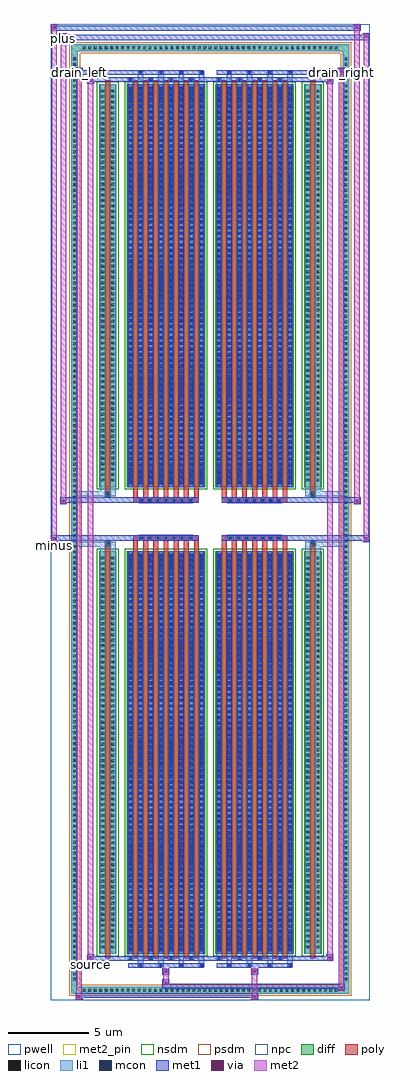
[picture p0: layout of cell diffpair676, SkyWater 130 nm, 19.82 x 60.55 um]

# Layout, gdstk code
import gdstk
lib = gdstk.Library(unit=1e-6, precision=5e-09)
def R(c, l, rs):  # rectangles x0, y0, x1, y1
    for r in rs: c.add(gdstk.rectangle(r[:2], r[2:], *l))
def A(c, l, x, y, w, h, nx, ny, dx, dy):  # array of equal rectangles
    R(c, l, [(x+i*dx, y+j*dy, x+i*dx+w, y+j*dy+h) for i in range(nx) for j in range(ny)])
def P(c, l, *ps):  # polygons
    for p in ps: c.add(gdstk.Polygon(p, *l))
pwell = (64, 44)
diff = (65, 20)
poly = (66, 20)
licon = (66, 44)
li1 = (67, 20)
mcon = (67, 44)
met1 = (68, 20)
via = (68, 44)
met2_pin = (69, 16)
met2 = (69, 20)
nsdm = (93, 44)
psdm = (94, 20)
npc = (95, 20)

diffpair676 = lib.new_cell('diffpair676')
R(diffpair676, pwell, [(-9.89,-29.84,9.89,30.71), (-7.21,-28.03,-0.01,-0.805), (0.01,-28.03,7.21,-0.805), (-7.21,0.805,-0.01,28.03), (0.01,0.805,7.21,28.03)])
A(diffpair676, diff, -8.025, -29.44, 0.41, 0.41, 47, 2, 0.34, 58.47)
A(diffpair676, diff, -8.62, -28.765, 0.41, 0.41, 1, 169, 0, 0.34)
A(diffpair676, diff, 8.21, -28.765, 0.41, 0.41, 1, 169, 0, 0.34)
R(diffpair676, diff, [(-8.025,-29.44,8.025,-29.03), (-8.62,-28.765,-8.21,28.765), (8.21,-28.765,8.62,28.765), (-6.9,-26.985,-5.82,-1.985), (-5.18,-26.985,-0.32,-1.985), (0.32,-26.985,5.18,-1.985), (5.82,-26.985,6.9,-1.985), (-6.9,1.985,-5.82,26.985), (-5.18,1.985,-0.32,26.985), (0.32,1.985,5.18,26.985), (5.82,1.985,6.9,26.985), (-8.025,29.03,8.025,29.44)])
P(diffpair676, diff, [(8.62,29.44),(-8.62,29.44),(-8.62,-29.03),(-8.21,-29.03),(-8.21,29.03),(8.21,29.03),(8.21,-29.03),(-8.21,-29.03),(-8.62,-29.03),(-8.62,-29.44),(8.62,-29.44)])
A(diffpair676, poly, -4.79, -27.235, 0.3, 25.5, 7, 2, 0.63, 28.97)
A(diffpair676, poly, 0.71, -27.235, 0.3, 25.5, 7, 2, 0.63, 28.97)
A(diffpair676, poly, -4.79, -1.735, 0.3, 0.4, 7, 2, 0.63, 3.07)
A(diffpair676, poly, 0.71, -1.735, 0.3, 0.4, 7, 2, 0.63, 3.07)
A(diffpair676, poly, -4.415, -1.335, 0.33, 0.33, 7, 2, 0.5, 2.34)
A(diffpair676, poly, 1.085, -1.335, 0.33, 0.33, 7, 2, 0.5, 2.34)
R(diffpair676, poly, [(-6.51,-27.235,-6.21,-1.735), (6.21,-27.235,6.51,-1.735), (-6.525,-1.735,-6.195,-1.405), (-6.525,-1.735,-6.195,-1.405), (6.195,-1.735,6.525,-1.405), (6.195,-1.735,6.525,-1.405), (-4.79,-1.335,-0.71,-1.005), (0.71,-1.335,4.79,-1.005), (-4.79,1.005,-0.71,1.335), (0.71,1.005,4.79,1.335), (-6.525,1.405,-6.195,1.735), (-6.525,1.405,-6.195,1.735), (6.195,1.405,6.525,1.735), (6.195,1.405,6.525,1.735), (-6.51,1.735,-6.21,27.235), (6.21,1.735,6.51,27.235)])
A(diffpair676, licon, -7.905, -29.32, 0.17, 0.17, 47, 2, 0.34, 58.47)
A(diffpair676, licon, -8.5, -28.645, 0.17, 0.17, 1, 169, 0, 0.34)
A(diffpair676, licon, 8.33, -28.645, 0.17, 0.17, 1, 169, 0, 0.34)
A(diffpair676, licon, -6.76, -26.64, 0.17, 0.17, 1, 72, 0, 0.34)
A(diffpair676, licon, -6.13, -26.64, 0.17, 0.17, 1, 72, 0, 0.34)
A(diffpair676, licon, -5.04, -26.64, 0.17, 0.17, 8, 72, 0.63, 0.34)
A(diffpair676, licon, 0.46, -26.64, 0.17, 0.17, 8, 72, 0.63, 0.34)
A(diffpair676, licon, 5.96, -26.64, 0.17, 0.17, 1, 72, 0, 0.34)
A(diffpair676, licon, 6.59, -26.64, 0.17, 0.17, 1, 72, 0, 0.34)
A(diffpair676, licon, -4.335, -1.255, 0.17, 0.17, 7, 2, 0.5, 2.34)
A(diffpair676, licon, 1.165, -1.255, 0.17, 0.17, 7, 2, 0.5, 2.34)
A(diffpair676, licon, -6.76, 2.33, 0.17, 0.17, 1, 72, 0, 0.34)
A(diffpair676, licon, -6.13, 2.33, 0.17, 0.17, 1, 72, 0, 0.34)
A(diffpair676, licon, -5.04, 2.33, 0.17, 0.17, 8, 72, 0.63, 0.34)
A(diffpair676, licon, 0.46, 2.33, 0.17, 0.17, 8, 72, 0.63, 0.34)
A(diffpair676, licon, 5.96, 2.33, 0.17, 0.17, 1, 72, 0, 0.34)
A(diffpair676, licon, 6.59, 2.33, 0.17, 0.17, 1, 72, 0, 0.34)
R(diffpair676, licon, [(-6.445,-1.655,-6.275,-1.485), (6.275,-1.655,6.445,-1.485), (-6.445,1.485,-6.275,1.655), (6.275,1.485,6.445,1.655)])
A(diffpair676, li1, -7.985, -29.4, 0.33, 0.33, 47, 2, 0.34, 58.47)
A(diffpair676, li1, -8.58, -28.725, 0.33, 0.33, 1, 169, 0, 0.34)
A(diffpair676, li1, 8.25, -28.725, 0.33, 0.33, 1, 169, 0, 0.34)
A(diffpair676, li1, -4.49, -27.79, 0.33, 0.805, 4, 2, 1.26, 54.775)
A(diffpair676, li1, -4.41, -27.79, 0.17, 0.17, 4, 2, 1.26, 55.41)
A(diffpair676, li1, 1.01, -27.79, 0.33, 0.805, 4, 2, 1.26, 54.775)
A(diffpair676, li1, 1.09, -27.79, 0.17, 0.17, 4, 2, 1.26, 55.41)
A(diffpair676, li1, -5.12, -27.36, 0.33, 0.375, 4, 2, 1.26, 54.345)
A(diffpair676, li1, -5.04, -27.36, 0.17, 0.17, 4, 2, 1.26, 54.55)
A(diffpair676, li1, 0.38, -27.36, 0.33, 0.375, 4, 2, 1.26, 54.345)
A(diffpair676, li1, 0.46, -27.36, 0.17, 0.17, 4, 2, 1.26, 54.55)
A(diffpair676, li1, -5.12, -26.985, 0.33, 25, 8, 2, 0.63, 28.97)
A(diffpair676, li1, 0.38, -26.985, 0.33, 25, 8, 2, 0.63, 28.97)
A(diffpair676, li1, -5.04, -26.81, 0.17, 0.17, 8, 69, 0.63, 0.36)
A(diffpair676, li1, -5.04, -26.81, 0.17, 24.65, 8, 2, 0.63, 28.97)
A(diffpair676, li1, 0.46, -26.81, 0.17, 0.17, 8, 69, 0.63, 0.36)
A(diffpair676, li1, 0.46, -26.81, 0.17, 24.65, 8, 2, 0.63, 28.97)
A(diffpair676, li1, -6.84, -26.72, 0.33, 0.33, 1, 72, 0, 0.34)
A(diffpair676, li1, -6.21, -26.72, 0.33, 0.33, 1, 72, 0, 0.34)
A(diffpair676, li1, -5.12, -26.72, 0.33, 0.33, 8, 72, 0.63, 0.34)
A(diffpair676, li1, 0.38, -26.72, 0.33, 0.33, 8, 72, 0.63, 0.34)
A(diffpair676, li1, 5.88, -26.72, 0.33, 0.33, 1, 72, 0, 0.34)
A(diffpair676, li1, 6.51, -26.72, 0.33, 0.33, 1, 72, 0, 0.34)
A(diffpair676, li1, -4.415, -1.335, 0.33, 0.33, 7, 2, 0.5, 2.34)
A(diffpair676, li1, 1.085, -1.335, 0.33, 0.33, 7, 2, 0.5, 2.34)
A(diffpair676, li1, -5.04, 2.16, 0.17, 0.17, 8, 69, 0.63, 0.36)
A(diffpair676, li1, 0.46, 2.16, 0.17, 0.17, 8, 69, 0.63, 0.36)
A(diffpair676, li1, -6.84, 2.25, 0.33, 0.33, 1, 72, 0, 0.34)
A(diffpair676, li1, -6.21, 2.25, 0.33, 0.33, 1, 72, 0, 0.34)
A(diffpair676, li1, -5.12, 2.25, 0.33, 0.33, 8, 72, 0.63, 0.34)
A(diffpair676, li1, 0.38, 2.25, 0.33, 0.33, 8, 72, 0.63, 0.34)
A(diffpair676, li1, 5.88, 2.25, 0.33, 0.33, 1, 72, 0, 0.34)
A(diffpair676, li1, 6.51, 2.25, 0.33, 0.33, 1, 72, 0, 0.34)
R(diffpair676, li1, [(-8.62,-29.44,-8.21,-29.03), (-8.62,-29.44,-8.21,-29.03), (-8.21,-29.44,8.21,-29.03), (8.21,-29.44,8.62,-29.03), (8.21,-29.44,8.62,-29.03), (-8.62,-29.03,-8.21,29.03), (8.21,-29.03,8.62,29.03), (-6.84,-26.985,-6.51,-1.985), (-6.21,-26.985,-5.88,-1.985), (5.88,-26.985,6.21,-1.985), (6.51,-26.985,6.84,-1.985), (-6.84,-1.985,-6.51,-1.405), (-6.21,-1.985,-5.88,-1.405), (5.88,-1.985,6.21,-1.405), (6.51,-1.985,6.84,-1.405), (-8.62,-1.735,-6.525,-1.405), (-6.84,-1.735,-6.525,-1.405), (-6.525,-1.735,-6.195,-1.405), (-6.195,-1.735,-5.88,-1.405), (5.88,-1.735,6.195,-1.405), (6.195,-1.735,6.525,-1.405), (6.195,-1.735,8.62,-1.405), (6.525,-1.735,6.84,-1.405), (-8.62,1.405,-6.525,1.735), (-6.84,1.405,-6.525,1.735), (-6.84,1.405,-6.51,1.985), (-6.525,1.405,-6.195,1.735), (-6.21,1.405,-5.88,1.985), (-6.195,1.405,-5.88,1.735), (5.88,1.405,6.195,1.735), (5.88,1.405,6.21,1.985), (6.195,1.405,6.525,1.735), (6.195,1.405,8.62,1.735), (6.51,1.405,6.84,1.985), (6.525,1.405,6.84,1.735), (-6.84,1.985,-6.51,26.985), (-6.21,1.985,-5.88,26.985), (5.88,1.985,6.21,26.985), (6.51,1.985,6.84,26.985), (-8.62,29.03,-8.21,29.44), (-8.62,29.03,-8.21,29.44), (-8.21,29.03,8.21,29.44), (8.21,29.03,8.62,29.44), (8.21,29.03,8.62,29.44)])
A(diffpair676, mcon, -4.41, -27.79, 0.17, 0.17, 4, 2, 1.26, 55.41)
A(diffpair676, mcon, 1.09, -27.79, 0.17, 0.17, 4, 2, 1.26, 55.41)
A(diffpair676, mcon, -5.04, -27.36, 0.17, 0.17, 4, 2, 1.26, 54.55)
A(diffpair676, mcon, 0.46, -27.36, 0.17, 0.17, 4, 2, 1.26, 54.55)
A(diffpair676, mcon, -5.04, -26.81, 0.17, 0.17, 8, 69, 0.63, 0.36)
A(diffpair676, mcon, 0.46, -26.81, 0.17, 0.17, 8, 69, 0.63, 0.36)
A(diffpair676, mcon, -4.335, -1.255, 0.17, 0.17, 7, 2, 0.5, 2.34)
A(diffpair676, mcon, 1.165, -1.255, 0.17, 0.17, 7, 2, 0.5, 2.34)
A(diffpair676, mcon, -5.04, 2.16, 0.17, 0.17, 8, 69, 0.63, 0.36)
A(diffpair676, mcon, 0.46, 2.16, 0.17, 0.17, 8, 69, 0.63, 0.36)
A(diffpair676, met1, -4.47, -27.85, 0.29, 0.29, 4, 2, 1.26, 55.41)
A(diffpair676, met1, 1.03, -27.85, 0.29, 0.29, 4, 2, 1.26, 55.41)
A(diffpair676, met1, -5.1, -27.42, 0.29, 0.29, 4, 2, 1.26, 54.55)
A(diffpair676, met1, 0.4, -27.42, 0.29, 0.29, 4, 2, 1.26, 54.55)
A(diffpair676, met1, -5.1, -26.985, 0.29, 25, 8, 2, 0.63, 28.97)
A(diffpair676, met1, 0.4, -26.985, 0.29, 25, 8, 2, 0.63, 28.97)
A(diffpair676, met1, -5.1, -26.87, 0.29, 0.29, 8, 69, 0.63, 0.36)
A(diffpair676, met1, 0.4, -26.87, 0.29, 0.29, 8, 69, 0.63, 0.36)
A(diffpair676, met1, -4.395, -1.315, 0.29, 0.29, 7, 2, 0.5, 2.34)
A(diffpair676, met1, 1.105, -1.315, 0.29, 0.29, 7, 2, 0.5, 2.34)
A(diffpair676, met1, -5.1, 2.1, 0.29, 0.29, 8, 69, 0.63, 0.36)
A(diffpair676, met1, 0.4, 2.1, 0.29, 0.29, 8, 69, 0.63, 0.36)
R(diffpair676, met1, [(-8.35,-29.84,-7.92,-29.41), (2.535,-29.84,2.965,-29.41), (-8.35,-29.7,2.965,-29.41), (7.92,-29.27,8.35,-28.84), (-2.965,-29.13,8.35,-28.84), (-2.965,-28.99,-2.535,-28.56), (-2.965,-28.28,-2.535,-27.85), (2.535,-28.28,2.965,-27.85), (-5.1,-27.85,-0.4,-27.56), (0.4,-27.85,5.1,-27.56), (-7.64,-27.42,-7.21,-26.99), (-7.64,-27.42,-5.1,-27.13), (-5.1,-27.42,-0.4,-27.13), (-0.4,-27.42,0.4,-27.13), (0.4,-27.42,5.1,-27.13), (5.1,-27.42,7.64,-27.13), (7.21,-27.42,7.64,-26.99), (-9.89,-1.435,-9.46,-1.005), (9.46,-1.435,9.89,-1.005), (-9.89,-1.335,-0.71,-1.005), (-4.79,-1.335,-0.71,-1.005), (0.71,-1.335,4.79,-1.005), (0.71,-1.335,9.89,-1.005), (-9.32,0.905,-8.89,1.335), (8.89,0.905,9.32,1.335), (-9.32,1.005,-4.79,1.335), (-4.79,1.005,-0.71,1.335), (0.71,1.005,4.79,1.335), (4.79,1.005,9.32,1.335), (-7.64,26.99,-7.21,27.42), (7.21,26.99,7.64,27.42), (-7.64,27.13,-5.1,27.42), (-5.1,27.13,-0.4,27.42), (-0.4,27.13,0.4,27.42), (0.4,27.13,5.1,27.42), (5.1,27.13,7.64,27.42), (-8.35,27.56,-7.92,27.99), (-8.35,27.56,-5.1,27.85), (-5.1,27.56,-0.4,27.85), (0.4,27.56,5.1,27.85), (5.1,27.56,8.35,27.85), (7.92,27.56,8.35,27.99), (-9.32,29.71,-8.89,30.14), (-9.32,29.71,-7.21,30.04), (-7.21,29.71,7.21,30.04), (7.21,29.71,9.89,30.04), (9.46,29.71,9.89,30.14), (-9.89,30.28,-9.46,30.71), (-9.89,30.28,-7.21,30.61), (-7.21,30.28,7.21,30.61), (7.21,30.28,9.32,30.61), (8.89,30.28,9.32,30.71)])
R(diffpair676, via, [(-8.21,-29.7,-8.06,-29.55), (2.675,-29.7,2.825,-29.55), (8.06,-29.13,8.21,-28.98), (-2.825,-28.85,-2.675,-28.7), (-2.825,-28.14,-2.675,-27.99), (2.675,-28.14,2.825,-27.99), (-7.5,-27.28,-7.35,-27.13), (7.35,-27.28,7.5,-27.13), (-9.75,-1.295,-9.6,-1.145), (9.6,-1.295,9.75,-1.145), (-9.18,1.045,-9.03,1.195), (9.03,1.045,9.18,1.195), (-7.5,27.13,-7.35,27.28), (7.35,27.13,7.5,27.28), (-8.21,27.7,-8.06,27.85), (8.06,27.7,8.21,27.85), (-9.18,29.85,-9.03,30), (9.6,29.85,9.75,30), (-9.75,30.42,-9.6,30.57), (9.03,30.42,9.18,30.57)])
R(diffpair676, met2_pin, [(-7.675,-27.87,-7.175,-27.37), (-9.925,-1.885,-9.425,-1.385), (-8.385,27.44,-7.885,27.94), (7.885,27.44,8.385,27.94), (-9.355,29.59,-8.855,30.09)])
R(diffpair676, met2, [(-8.3,-29.79,-7.97,-29.46), (-8.3,-29.79,-7.97,27.94), (2.585,-29.79,2.915,-29.46), (2.585,-29.46,2.915,-28.23), (7.97,-29.22,8.3,-28.89), (7.97,-29.22,8.3,27.94), (-2.915,-28.94,-2.585,-28.61), (-2.915,-28.61,-2.585,-28.23), (-2.915,-28.23,-2.585,-27.9), (2.585,-28.23,2.915,-27.9), (-7.59,-27.37,-7.26,-27.04), (-7.59,-27.37,-7.26,27.37), (7.26,-27.37,7.59,-27.04), (7.26,-27.37,7.59,27.37), (-9.84,-1.385,-9.51,-1.055), (-9.84,-1.385,-9.51,30.66), (9.51,-1.385,9.84,-1.055), (9.51,-1.385,9.84,30.09), (-9.27,0.955,-8.94,1.285), (-9.27,0.955,-8.94,30.09), (8.94,0.955,9.27,1.285), (8.94,0.955,9.27,30.66), (-7.59,27.04,-7.26,27.37), (7.26,27.04,7.59,27.37), (-8.3,27.61,-7.97,27.94), (7.97,27.61,8.3,27.94), (-9.27,29.76,-8.94,30.09), (9.51,29.76,9.84,30.09), (-9.84,30.33,-9.51,30.66), (8.94,30.33,9.27,30.66)])
P(diffpair676, met2, [(9.84,-1.385),(9.84,-1.385),(9.84,-1.055),(9.84,-1.055)],
  [(9.84,29.76),(9.84,29.76),(9.84,30.09),(9.84,30.09)],
  [(-9.51,-1.385),(-9.51,-1.385),(-9.51,-1.055),(-9.51,-1.055)],
  [(-9.51,30.33),(-9.51,30.33),(-9.51,30.66),(-9.51,30.66)],
  [(9.27,0.955),(9.27,0.955),(9.27,1.285),(9.27,1.285)],
  [(9.27,30.33),(9.27,30.33),(9.27,30.66),(9.27,30.66)],
  [(-8.94,0.955),(-8.94,0.955),(-8.94,1.285),(-8.94,1.285)],
  [(-8.94,29.76),(-8.94,29.76),(-8.94,30.09),(-8.94,30.09)],
  [(-7.97,-29.79),(-7.97,-29.79),(-7.97,-29.46),(-7.97,-29.46)],
  [(-7.97,27.61),(-7.97,27.61),(-7.97,27.94),(-7.97,27.94)],
  [(8.3,-29.22),(8.3,-29.22),(8.3,-28.89),(8.3,-28.89)],
  [(8.3,27.61),(8.3,27.61),(8.3,27.94),(8.3,27.94)],
  [(-7.26,-27.37),(-7.26,-27.37),(-7.26,-27.04),(-7.26,-27.04)],
  [(-7.26,27.04),(-7.26,27.04),(-7.26,27.37),(-7.26,27.37)],
  [(7.59,-27.37),(7.59,-27.37),(7.59,-27.04),(7.59,-27.04)],
  [(7.59,27.04),(7.59,27.04),(7.59,27.37),(7.59,27.37)])
R(diffpair676, nsdm, [(-7.03,-27.115,-5.69,-1.855), (-5.31,-27.115,-0.19,-1.855), (0.19,-27.115,5.31,-1.855), (5.69,-27.115,7.03,-1.855), (-7.03,1.855,-5.69,27.115), (-5.31,1.855,-0.19,27.115), (0.19,1.855,5.31,27.115), (5.69,1.855,7.03,27.115)])
P(diffpair676, psdm, [(8.75,29.57),(-8.75,29.57),(-8.75,-28.9),(-8.08,-28.9),(-8.08,28.9),(8.08,28.9),(8.08,-28.9),(-8.08,-28.9),(-8.75,-28.9),(-8.75,-29.57),(8.75,-29.57)])
A(diffpair676, npc, -4.435, -1.355, 0.37, 0.37, 7, 2, 0.5, 2.34)
A(diffpair676, npc, 1.065, -1.355, 0.37, 0.37, 7, 2, 0.5, 2.34)
R(diffpair676, npc, [(-6.545,-1.755,-6.175,-1.385), (6.175,-1.755,6.545,-1.385), (-4.435,-1.355,-3.565,-0.985), (-4.435,-1.355,-3.565,-0.985), (-3.935,-1.355,-3.065,-0.985), (-3.935,-1.355,-3.065,-0.985), (-3.435,-1.355,-2.565,-0.985), (-3.435,-1.355,-2.565,-0.985), (-2.935,-1.355,-2.065,-0.985), (-2.935,-1.355,-2.065,-0.985), (-2.435,-1.355,-1.565,-0.985), (-2.435,-1.355,-1.565,-0.985), (-1.935,-1.355,-1.065,-0.985), (-1.935,-1.355,-1.065,-0.985), (1.065,-1.355,1.935,-0.985), (1.065,-1.355,1.935,-0.985), (1.565,-1.355,2.435,-0.985), (1.565,-1.355,2.435,-0.985), (2.065,-1.355,2.935,-0.985), (2.065,-1.355,2.935,-0.985), (2.565,-1.355,3.435,-0.985), (2.565,-1.355,3.435,-0.985), (3.065,-1.355,3.935,-0.985), (3.065,-1.355,3.935,-0.985), (3.565,-1.355,4.435,-0.985), (3.565,-1.355,4.435,-0.985), (-4.435,0.985,-3.565,1.355), (-4.435,0.985,-3.565,1.355), (-3.935,0.985,-3.065,1.355), (-3.935,0.985,-3.065,1.355), (-3.435,0.985,-2.565,1.355), (-3.435,0.985,-2.565,1.355), (-2.935,0.985,-2.065,1.355), (-2.935,0.985,-2.065,1.355), (-2.435,0.985,-1.565,1.355), (-2.435,0.985,-1.565,1.355), (-1.935,0.985,-1.065,1.355), (-1.935,0.985,-1.065,1.355), (1.065,0.985,1.935,1.355), (1.065,0.985,1.935,1.355), (1.565,0.985,2.435,1.355), (1.565,0.985,2.435,1.355), (2.065,0.985,2.935,1.355), (2.065,0.985,2.935,1.355), (2.565,0.985,3.435,1.355), (2.565,0.985,3.435,1.355), (3.065,0.985,3.935,1.355), (3.065,0.985,3.935,1.355), (3.565,0.985,4.435,1.355), (3.565,0.985,4.435,1.355), (-6.545,1.385,-6.175,1.755), (6.175,1.385,6.545,1.755)])
diffpair676.add(gdstk.Label('minus', (-9.675,-1.635), layer=69, texttype=5))
diffpair676.add(gdstk.Label('drain_right', (8.135,27.69), layer=69, texttype=5))
diffpair676.add(gdstk.Label('drain_left', (-8.135,27.69), layer=69, texttype=5))
diffpair676.add(gdstk.Label('source', (-7.425,-27.62), layer=69, texttype=5))
diffpair676.add(gdstk.Label('plus', (-9.105,29.84), layer=69, texttype=5))

lib.write_gds('diffpair676.gds')
